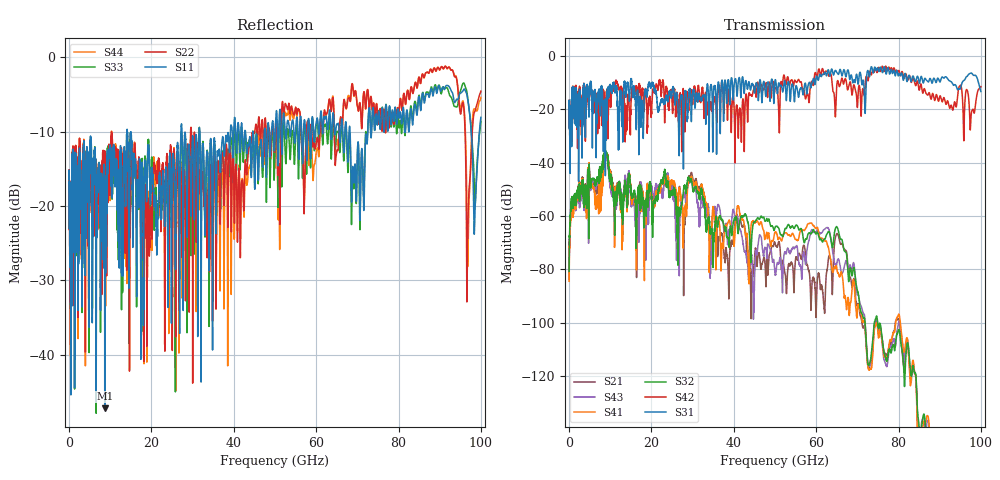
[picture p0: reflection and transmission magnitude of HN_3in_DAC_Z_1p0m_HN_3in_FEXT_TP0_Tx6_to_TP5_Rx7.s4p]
# GHz S RI R 45
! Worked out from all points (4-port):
!   4000 points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, 25 MHz to 100 GHz, reference 45 ohm
!   strongest paths, dB at 25 MHz, 25.02 GHz, 50.02 GHz, 75.03 GHz, 100 GHz:
!     S31: -18.6, -13.6, -9.1, -4.9, -13.4
!     S42: -18.6, -16.6, -12.4, -4.6, -11.5
!     S32: -80.7, -52.1, -64.3, -101.2, -
!     S41: -84.4, -47.4, -66.1, -104.1, -
!     S43: -80.3, -51.0, -81.5, -103.0, -
!     S21: -83.7, -49.7, -70.2, -102.3, -
!   lowest |S11| = -47.2 dB at 8.675 GHz (marker M1), VSWR 1.01, Z = 44.8 + j0.317 ohm
!   |S11| at or under -10 dB: start of sweep to 14.08 GHz; 14.11 GHz to 27.17 GHz (13.06 GHz wide, 63.3 % of centre); 31.75 GHz to 39.16 GHz (7.414 GHz wide, 20.9 % of centre)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
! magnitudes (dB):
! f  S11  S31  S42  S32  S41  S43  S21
! 25 MHz  -16.4  -18.6  -18.6  -80.7  -84.4  -80.3  -83.7
! 8.675 GHz  -47.2  -16.6  -21.2  -36.6  -39.1  -37.6  -37.8
! 28.05 GHz  -10.5  -15.1  -24.8  -48.4  -57.2  -51.3  -62.9
! 29.62 GHz  -19.5  -21.4  -13.2  -46.1  -45.4  -46.0  -44.0
! 37.17 GHz  -11.2  -9.1  -9.8  -61.5  -71.3  -61.7  -67.0
! 44.38 GHz  -14.1  -10.7  -15.1  -67.7  -62.1  -74.8  -83.3
! 100 GHz  -8.1  -13.4  -11.5  -  -  -  -
